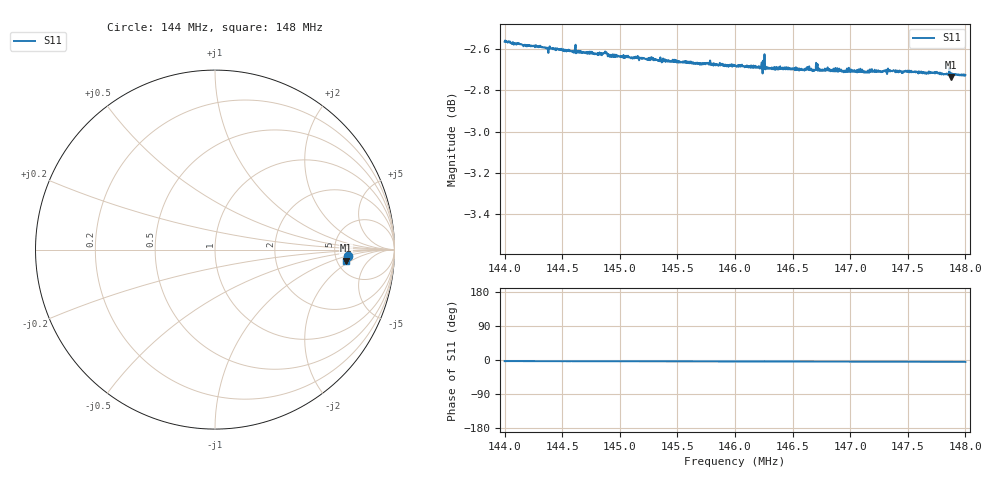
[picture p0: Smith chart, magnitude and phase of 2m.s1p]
! Calibrated averaged scanner-service zoom
# Hz S RI R 50
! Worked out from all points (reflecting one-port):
!   1001 points, 144 MHz to 148 MHz, reference 50 ohm
!   lowest |S11| = -2.7 dB at 147.88 MHz (marker M1), VSWR 6.40, Z = 299 - j77.9 ohm
!   phase of S11 starts at -3 deg and turns -2 deg over the sweep
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1.44e8  0.7435 -0.0381
1.44184e8  0.7419 -0.0394
1.445e8  0.74 -0.0408
1.44588e8  0.739 -0.0414
1.44628e8  0.739 -0.0423
1.44792e8  0.7384 -0.0424
1.44872e8  0.7392 -0.0429
1.44916e8  0.7377 -0.0432
1.45e8  0.7369 -0.0438
1.455e8  0.7349 -0.046
1.45628e8  0.7338 -0.0471
1.46e8  0.7332 -0.0488
1.46216e8  0.7317 -0.0495
1.46232e8  0.7341 -0.0517
1.4624e8  0.7297 -0.0489
1.4626e8  0.7325 -0.0494
1.46284e8  0.7318 -0.05
1.465e8  0.7313 -0.0508
1.46628e8  0.7322 -0.0517
1.4668e8  0.7308 -0.0521
1.46712e8  0.7313 -0.0524
1.46756e8  0.7306 -0.0528
1.47e8  0.73 -0.0541
1.47128e8  0.7296 -0.0545
1.47312e8  0.7307 -0.0561
1.475e8  0.7298 -0.0577
1.47876e8  0.7274 -0.0608
1.48e8  0.728 -0.0631
